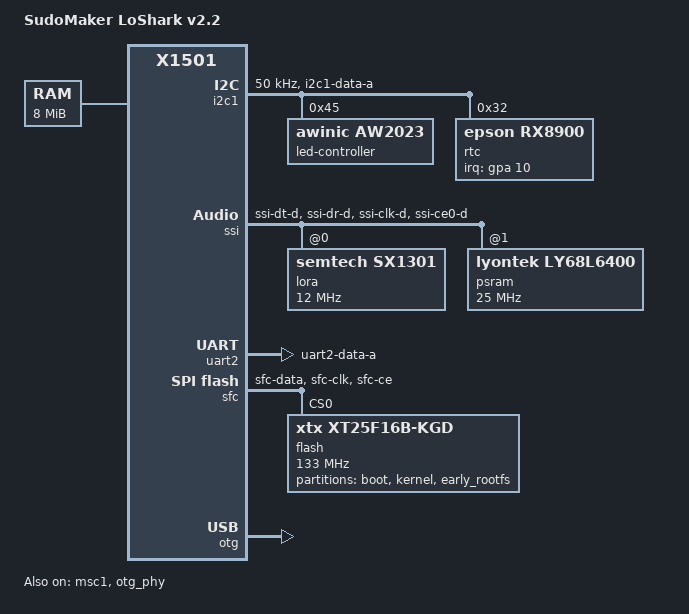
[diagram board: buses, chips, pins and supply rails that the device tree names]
// SPDX-License-Identifier: GPL-2.0
/dts-v1/;

#include "x1501.dtsi"
#include <dt-bindings/gpio/gpio.h>
#include <dt-bindings/leds/common.h>
#include <dt-bindings/input/input.h>
#include <dt-bindings/clock/ingenic,sysost.h>
#include <dt-bindings/interrupt-controller/irq.h>

/ {
	compatible = "sudomaker,loshark-v2.2", "ingenic,x1501";
	model = "SudoMaker LoShark v2.2";

	aliases {
		serial2 = &uart2;
	};

	chosen {
		stdout-path = "serial2:115200n8";
	};

	memory {
		device_type = "memory";
		reg = <0x0 0x00800000>;
	};

};

&exclk {
	clock-frequency = <24000000>;
};

&cgu {
	assigned-clocks = <&cgu X1000_CLK_SSIMUX>, <&cgu X1000_CLK_RTC>;
	assigned-clock-parents = <&cgu X1000_CLK_SSIPLL_DIV2>, <&cgu X1000_CLK_EXCLK_DIV512>;
};

&ost {
	/* 1500 kHz for the system timer and clocksource */
	assigned-clocks = <&ost OST_CLK_EVENT_TIMER>, <&ost OST_CLK_GLOBAL_TIMER>;
	assigned-clock-rates = <1500000>, <1500000>;
};

&i2c1 {
	status = "okay";

	clock-frequency = <50000>;

	pinctrl-names = "default";
	pinctrl-0 = <&pins_i2c1>;

	led-controller@45 {
		compatible = "awinic,aw2023";
		reg = <0x45>;
		#address-cells = <1>;
		#size-cells = <0>;

		led@0 {
			reg = <0>;
			led-max-microamp = <8000>;
			function = LED_FUNCTION_INDICATOR;
			color = <LED_COLOR_ID_RED>;
		};

		led@1 {
			reg = <1>;
			led-max-microamp = <7000>;
			function = LED_FUNCTION_INDICATOR;
			color = <LED_COLOR_ID_GREEN>;
		};

		led@2 {
			reg = <2>;
			led-max-microamp = <2000>;
			function = LED_FUNCTION_INDICATOR;
			color = <LED_COLOR_ID_BLUE>;
		};
	};

	rtc@32 {
		compatible = "epson,rx8900";
		reg = <0x32>;

		interrupt-parent = <&gpa>;
		interrupts = <10 IRQ_TYPE_EDGE_FALLING>;
		wakeup-source;

		epson,vdet-disable;
		trickle-diode-disable;
	};
};

&ssi {
	status = "okay";

	pinctrl-names = "default";
	pinctrl-0 = <&pins_spi0>;

	num-cs = <2>;
	cs-gpios = <0>, <&gpa 13 GPIO_ACTIVE_LOW>;

	lora: sx126x@0 {
		reg = <0>;
		compatible = "semtech,sx1301";

		spi-max-frequency = <12000000>;
	};

	psram: ly68@1 {
		reg = <1>;
		compatible = "lyontek,ly68l6400";

		spi-max-frequency = <25000000>;
		op-sleep-ratio = <20>;
	};
};

&uart2 {
	status = "okay";

	pinctrl-names = "default";
	pinctrl-0 = <&pins_uart2>;
};

&sfc {
	status = "okay";

	#address-cells = <1>;
	#size-cells = <0>;

	pinctrl-names = "default";
	pinctrl-0 = <&pins_sfc>;

	flash: xt25f16b@0 {
		compatible = "xtx,xt25f16b-kgd", "xtx,xt25f16b", "jedec,spi-nor";
		spi-max-frequency = <133000000>;
		reg = <0>;

		spi-rx-bus-width = <4>;
		spi-tx-bus-width = <4>;

		partitions {
			compatible = "fixed-partitions";
			#address-cells = <1>;
			#size-cells = <1>;

			boot {
				reg = <0x0 0x8000>;
			};

			kernel {
				reg = <0x8000 0x138000>;
			};

			early_rootfs {
				reg = <0x140000 0xC0000>;
			};

		};
	};
};

&msc1 {
	status = "okay";

	bus-width = <4>;
	max-frequency = <50000000>;

	pinctrl-names = "default";
	pinctrl-0 = <&pins_msc1>;

	/delete-property/ dmas;
	/delete-property/ dma-names;

	non-removable;
};

&otg_phy {
	status = "okay";
	wakeup-source;
};

&otg {
	status = "okay";
	wakeup-source;
};

&pinctrl {
	pins_sfc: sfc {
		function = "sfc";
		groups = "sfc-data", "sfc-clk", "sfc-ce";
		bias-disable;
	};

	pins_spi0: spi0 {
		function = "ssi";
		groups = "ssi-dt-d", "ssi-dr-d", "ssi-clk-d", "ssi-ce0-d";
	};

	pins_i2c1: i2c1 {
		function = "i2c1";
		groups = "i2c1-data-a";
		bias-pull-up;
	};

	pins_uart2: uart2 {
		function = "uart2";
		groups = "uart2-data-a";
		bias-pull-up;
	};

	pins_msc1: msc1 {
		function = "mmc1";
		groups = "mmc1-1bit", "mmc1-4bit";
		bias-pull-up;
	};
};
